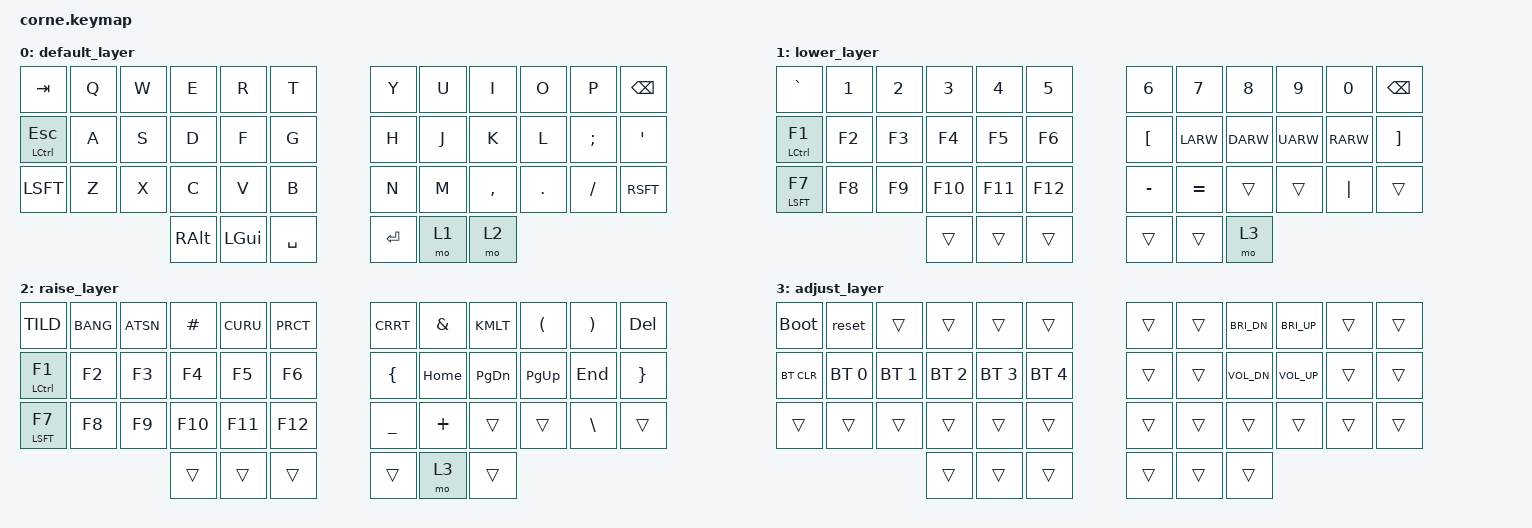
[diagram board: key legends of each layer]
/*
 * Copyright (c) 2020 The ZMK Contributors
 *
 * SPDX-License-Identifier: MIT
 */

#include <behaviors.dtsi>
#include <dt-bindings/zmk/keys.h>
#include <dt-bindings/zmk/bt.h>

/ {
        keymap {
                compatible = "zmk,keymap";

                default_layer {
// -------------------------------------------------------------------------------
// | TAB  |  Q  |  W  |  E  |  R  |  T  |   |  Y  |  U  |  I  |  O  |  P  | BKSP |
// | CESC |  A  |  S  |  D  |  F  |  G  |   |  H  |  J  |  K  |  L  |  ;  |  '   |
// | SHFT |  Z  |  X  |  C  |  V  |  B  |   |  N  |  M  |  ,  |  .  |  /  | SHFT |
//                    | ALT | GUI | SPC |   | ENT | LWR | RSE |
                        bindings = <
   &kp TAB      &kp Q &kp W &kp E &kp R &kp T   &kp Y &kp U  &kp I    &kp O   &kp P    &kp BKSP
   &mt LCTL ESC &kp A &kp S &kp D &kp F &kp G   &kp H &kp J  &kp K    &kp L   &kp SCLN &kp QUOT
   &kp LSFT     &kp Z &kp X &kp C &kp V &kp B   &kp N &kp M  &kp CMMA &kp DOT &kp FSLH &kp RSFT
                    &kp RALT &kp LGUI &kp SPC   &kp RET &mo 1 &mo 2
                        >;
                };

                lower_layer {
// -------------------------------------------------------------------------------
// |  `   |  1  |  2  |  3  |  4  |  5  |   |  6  |  7  |  8  |  9  |  0  | BKSP |
// | C-F1 | F2  | F3  | F4  | F5  | F6  |   |  [  | LFT | DWN |  UP | RGT |   ]  |
// | S-F7 | F8  | F9  | F10 | F11 | F12 |   |  -  |  =  |     |     | "|" |      |
//                    |     |     |     |   |     |     | ADJ |
                        bindings = <
   &kp GRAV    &kp NUM_1 &kp NUM_2 &kp NUM_3 &kp NUM_4 &kp NUM_5         &kp NUM_6 &kp NUM_7 &kp NUM_8 &kp NUM_9 &kp NUM_0 &kp BKSP
   &mt LCTL F1 &kp F2    &kp F3    &kp F4    &kp F5    &kp F6            &kp LBKT  &kp LARW  &kp DARW  &kp UARW  &kp RARW  &kp RBKT
   &mt LSFT F7 &kp F8    &kp F9    &kp F10   &kp F11   &kp F12           &kp MINUS &kp EQL   &trans    &trans    &kp PIPE  &trans
                                   &trans    &trans    &trans            &trans    &trans    &mo 3
                        >;
                };

                raise_layer {
// ------------------------------------------------------------------------------
// |  ~   |  !  |  @  |  #  |  $  |  %  |   |  ^  |  &  |  *  |  (  |  )  | DEL  |
// | C-F1 | F2  | F3  | F4  | F5  | F6  |   |  {  | HOME| PGD | PGU | "|" |  }   |
// | S-F7 | F8  | F9  | F10 | F11 | F12 |   |  _  |  +  |     |     |  \  |      |
//                    |     |     |     |   |     | ADJ |     |
                        bindings = <
   &kp TILD    &kp BANG &kp ATSN &kp HASH &kp CURU &kp PRCT    &kp CRRT  &kp AMPS &kp KMLT  &kp LPRN  &kp RPRN &kp DEL
   &mt LCTL F1 &kp F2   &kp F3   &kp F4   &kp F5   &kp F6      &kp LBRC  &kp HOME &kp PG_DN &kp PG_UP &kp END  &kp RBRC
   &mt LSFT F7 &kp F8   &kp F9   &kp F10  &kp F11  &kp F12     &kp UNDER &kp PLUS &trans    &trans    &kp BSLH &trans
                                 &trans   &trans   &trans      &trans    &mo 3    &trans
                        >;
                };

                adjust_layer {
// -------------------------------------------------------------------------------
// | BOOT | RST |     |     |     |     |   |     |     | BDN | BUP |     |      |
// | BTCLR| BT1 | BT2 | BT3 | BT4 | BT5 |   |     |     | VDN | VUP |     |      |
// |      |     |     |     |     |     |   |     |     |     |     |     |      |
//                    |     |     |     |   |     |     |     |
                        bindings = <
   &bootloader &reset       &trans       &trans       &trans       &trans            &trans    &trans    &kp C_BRI_DN &kp C_BRI_UP &trans    &trans
   &bt BT_CLR  &bt BT_SEL 0 &bt BT_SEL 1 &bt BT_SEL 2 &bt BT_SEL 3 &bt BT_SEL 4      &trans    &trans    &kp C_VOL_DN &kp C_VOL_UP &trans    &trans
   &trans      &trans       &trans       &trans       &trans       &trans            &trans    &trans    &trans       &trans       &trans    &trans
                                         &trans       &trans       &trans            &trans    &trans    &trans
                        >;
                };

        };
};
